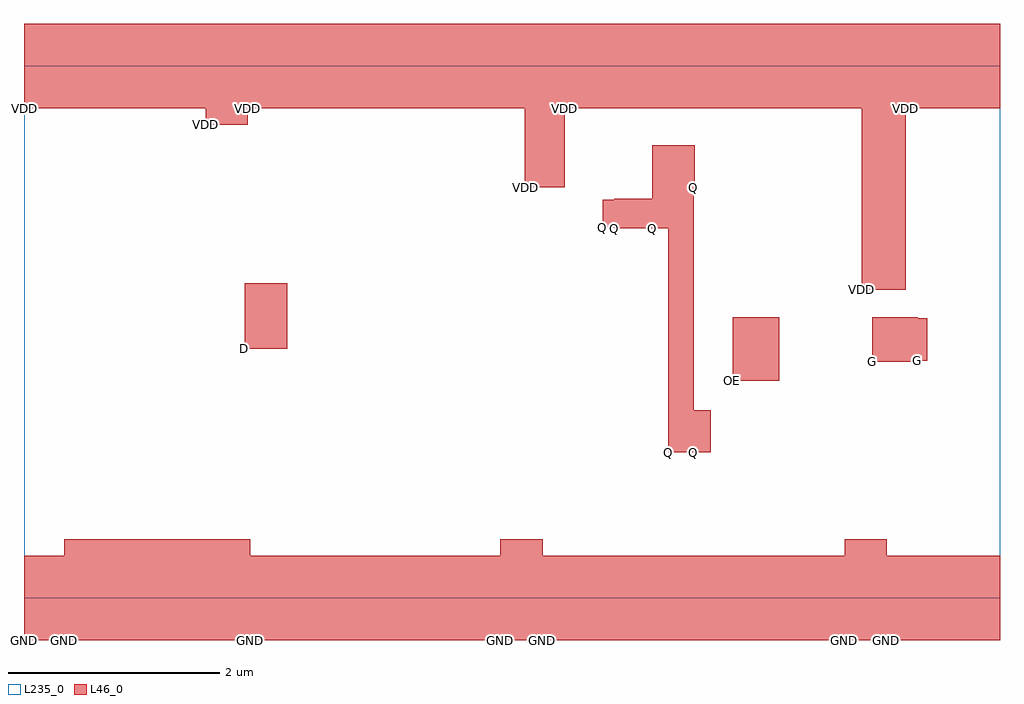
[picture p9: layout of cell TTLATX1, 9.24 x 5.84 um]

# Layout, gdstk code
import gdstk
lib = gdstk.Library(unit=1e-6, precision=1e-09)
def R(c, l, rs):  # rectangles x0, y0, x1, y1
    for r in rs: c.add(gdstk.rectangle(r[:2], r[2:], *l))
L46_0 = (46, 0)
L235_0 = (235, 0)

ttlatx1 = lib.new_cell('TTLATX1')
R(ttlatx1, L46_0, [(0,-0.4,0.38,0.4), (0.38,-0.4,2.14,0.56), (2.14,-0.4,4.51,0.4), (4.51,-0.4,4.91,0.56), (4.91,-0.4,7.77,0.4), (7.77,-0.4,8.17,0.56), (8.17,-0.4,9.24,0.4), (6.1,1.38,6.34,4.29), (6.34,1.38,6.5,1.78), (6.71,2.06,7.15,2.66), (8.03,2.24,8.46,2.66), (8.46,2.25,8.55,2.65), (2.09,2.36,2.49,2.98), (7.93,2.92,8.35,5.44), (5.59,3.5,5.95,3.78), (5.95,3.5,6.1,4.29), (5.48,3.51,5.59,3.77), (4.75,3.89,5.12,5.44), (6.34,3.89,6.35,4.29), (4.74,3.9,4.75,5.44), (1.72,4.48,2.12,5.44), (0,4.64,1.72,5.44), (2.12,4.64,4.74,5.44), (5.12,4.64,7.93,5.44), (8.35,4.64,9.24,5.44)])
R(ttlatx1, L235_0, [(0,0,9.24,5.04)])
ttlatx1.add(gdstk.Label('Q', (6.34,1.38), layer=101, texttype=0))
ttlatx1.add(gdstk.Label('Q', (6.34,3.89), layer=101, texttype=0))
ttlatx1.add(gdstk.Label('Q', (6.1,1.38), layer=101, texttype=0))
ttlatx1.add(gdstk.Label('Q', (5.95,3.5), layer=101, texttype=0))
ttlatx1.add(gdstk.Label('Q', (5.59,3.5), layer=101, texttype=0))
ttlatx1.add(gdstk.Label('Q', (5.48,3.51), layer=101, texttype=0))
ttlatx1.add(gdstk.Label('OE', (6.71,2.06), layer=101, texttype=0))
ttlatx1.add(gdstk.Label('G', (8.46,2.25), layer=101, texttype=0))
ttlatx1.add(gdstk.Label('G', (8.03,2.24), layer=101, texttype=0))
ttlatx1.add(gdstk.Label('D', (2.09,2.36), layer=101, texttype=0))
ttlatx1.add(gdstk.Label('VDD', (8.35,4.64), layer=101, texttype=0))
ttlatx1.add(gdstk.Label('VDD', (7.93,2.92), layer=101, texttype=0))
ttlatx1.add(gdstk.Label('VDD', (5.12,4.64), layer=101, texttype=0))
ttlatx1.add(gdstk.Label('VDD', (4.75,3.89), layer=101, texttype=0))
ttlatx1.add(gdstk.Label('VDD', (4.74,3.9), layer=101, texttype=0))
ttlatx1.add(gdstk.Label('VDD', (2.12,4.64), layer=101, texttype=0))
ttlatx1.add(gdstk.Label('VDD', (1.72,4.48), layer=101, texttype=0))
ttlatx1.add(gdstk.Label('VDD', (0,4.64), layer=101, texttype=0))
ttlatx1.add(gdstk.Label('GND', (8.17,-0.4), layer=101, texttype=0))
ttlatx1.add(gdstk.Label('GND', (7.77,-0.4), layer=101, texttype=0))
ttlatx1.add(gdstk.Label('GND', (4.91,-0.4), layer=101, texttype=0))
ttlatx1.add(gdstk.Label('GND', (4.51,-0.4), layer=101, texttype=0))
ttlatx1.add(gdstk.Label('GND', (2.14,-0.4), layer=101, texttype=0))
ttlatx1.add(gdstk.Label('GND', (0.38,-0.4), layer=101, texttype=0))
ttlatx1.add(gdstk.Label('GND', (0,-0.4), layer=101, texttype=0))

lib.write_gds('TTLATX1.gds')
